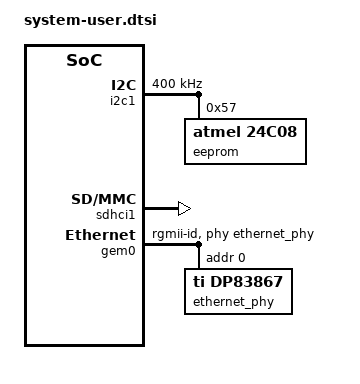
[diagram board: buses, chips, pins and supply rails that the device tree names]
/include/ "system-conf.dtsi"
/ {
chosen {
xlnx,eeprom = &eeprom;
};
};

&i2c1 {
	clock-frequency = <400000>;
	status = "okay";
	eeprom: eeprom@57 {
		compatible = "atmel,24c08";
		reg = <0x57>;
	};
};
&sdhci1 {
	clock-frequency = <200000000>;
	disable-wp;
	status = "okay";
	xlnx,mio_bank = <0x1>;
	no-1-8-v;
	broken-mmc-highspeed;
};
&gpio {
	emio-gpio-width = <32>;
	gpio-mask-high = <0x0>;
	gpio-mask-low = <0x5600>;
	status = "okay";
};
&gem0 {
	status = "okay";
	phy-mode = "rgmii-id";
	xlnx,ptp-enet-clock = <0x0>;
	phy-handle = <&ethernet_phy>;

	ethernet_phy: ethernet-phy@0 {
		reg = <0>;
		device_type = "ethernet-phy";
		compatible = "ti,dp83867", "ethernet-phy-ieee802.3-c22";
		ti,rx-internal-delay = <0x8>;
		ti,tx-internal-delay = <0xa>;
		ti,fifo-depth = <0x1>;
	};
};

